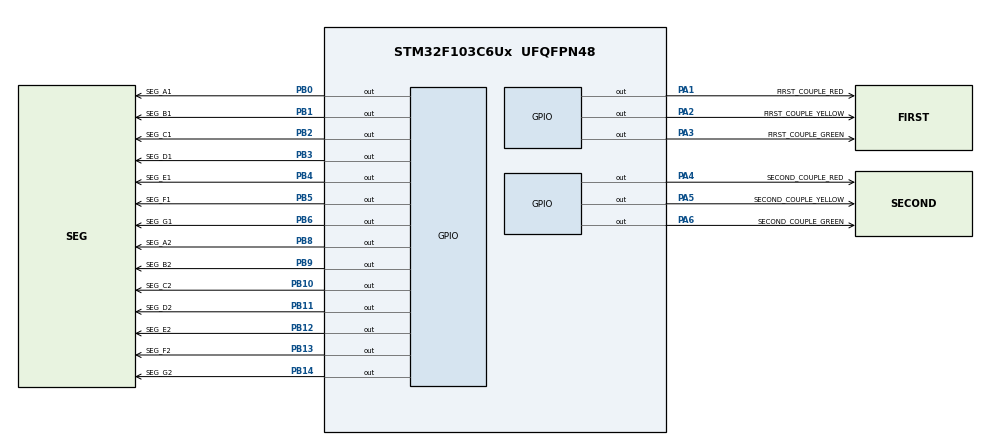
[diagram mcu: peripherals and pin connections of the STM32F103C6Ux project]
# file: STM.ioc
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Mcu.Family=STM32F1
Mcu.Name=STM32F103C6Ux
Mcu.Package=UFQFPN48
NVIC.PriorityGroup=NVIC_PRIORITYGROUP_4
PA1.GPIO_Label=FIRST_COUPLE_RED
PA1.Signal=GPIO_Output
PA2.GPIO_Label=FIRST_COUPLE_YELLOW
PA2.Signal=GPIO_Output
PA3.GPIO_Label=FIRST_COUPLE_GREEN
PA3.Signal=GPIO_Output
PA4.GPIO_Label=SECOND_COUPLE_RED
PA4.Signal=GPIO_Output
PA5.GPIO_Label=SECOND_COUPLE_YELLOW
PA5.Signal=GPIO_Output
PA6.GPIO_Label=SECOND_COUPLE_GREEN
PA6.Signal=GPIO_Output
PB0.GPIO_Label=SEG_A1
PB0.Signal=GPIO_Output
PB1.GPIO_Label=SEG_B1
PB1.Signal=GPIO_Output
PB10.GPIO_Label=SEG_C2
PB10.Signal=GPIO_Output
PB11.GPIO_Label=SEG_D2
PB11.Signal=GPIO_Output
PB12.GPIO_Label=SEG_E2
PB12.Signal=GPIO_Output
PB13.GPIO_Label=SEG_F2
PB13.Signal=GPIO_Output
PB14.GPIO_Label=SEG_G2
PB14.Signal=GPIO_Output
PB2.GPIO_Label=SEG_C1
PB2.Signal=GPIO_Output
PB3.GPIO_Label=SEG_D1
PB3.Signal=GPIO_Output
PB4.GPIO_Label=SEG_E1
PB4.Signal=GPIO_Output
PB5.GPIO_Label=SEG_F1
PB5.Signal=GPIO_Output
PB6.GPIO_Label=SEG_G1
PB6.Signal=GPIO_Output
PB8.GPIO_Label=SEG_A2
PB8.Signal=GPIO_Output
PB9.GPIO_Label=SEG_B2
PB9.Signal=GPIO_Output
ProjectManager.HeapSize=0x200
ProjectManager.StackSize=0x400
ProjectManager.TargetToolchain=STM32CubeIDE
RCC.APB1Freq_Value=8000000
RCC.APB2Freq_Value=8000000
VP_SYS_VS_ND.Mode=No_Debug
board=custom

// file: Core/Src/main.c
/* USER CODE BEGIN Header */
/**
  ******************************************************************************
  * @file           : main.c
  * @brief          : Main program body
  ******************************************************************************
  * @attention
  *
  * <h2><center>&copy; Copyright (c) 2022 STMicroelectronics.
  * All rights reserved.</center></h2>
  *
  * This software component is licensed by ST under BSD 3-Clause license,
  * the "License"; You may not use this file except in compliance with the
  * License. You may obtain a copy of the License at:
  *                        opensource.org/licenses/BSD-3-Clause
  *
  ******************************************************************************
  */
/* USER CODE END Header */
#include "main.h"
#include <stdbool.h>

/* USER CODE BEGIN PTD */
enum LedState { RED_STATE , YELLOW_STATE , GREEN_STATE } ;
/* USER CODE END PTD */

/* USER CODE BEGIN PD */
#define ONE_SECOND_DELAY 1000
#define LED_STATES_NUMBER 3
#define THRESHOLD_COUNTDOWN_VALUE 1
/* USER CODE END PD */

void SystemClock_Config(void);
static void MX_GPIO_Init(void);

void displayFirstLedCouple(enum LedState state_1){
	switch(state_1){
	 case RED_STATE:
			 HAL_GPIO_WritePin( FIRST_COUPLE_GREEN_GPIO_Port , FIRST_COUPLE_GREEN_Pin , 1) ;
			 HAL_GPIO_WritePin( FIRST_COUPLE_YELLOW_GPIO_Port , FIRST_COUPLE_YELLOW_Pin , 1 ) ;
			 HAL_GPIO_WritePin( FIRST_COUPLE_RED_GPIO_Port , FIRST_COUPLE_RED_Pin , 0 ) ;
			 break;
	 case YELLOW_STATE:
			 HAL_GPIO_WritePin( FIRST_COUPLE_GREEN_GPIO_Port , FIRST_COUPLE_GREEN_Pin , 1) ;
			 HAL_GPIO_WritePin( FIRST_COUPLE_YELLOW_GPIO_Port , FIRST_COUPLE_YELLOW_Pin , 0 ) ;
			 HAL_GPIO_WritePin( FIRST_COUPLE_RED_GPIO_Port , FIRST_COUPLE_RED_Pin , 1 ) ;
			 break;
	 case GREEN_STATE:
			 HAL_GPIO_WritePin( FIRST_COUPLE_GREEN_GPIO_Port , FIRST_COUPLE_GREEN_Pin , 0) ;
			 HAL_GPIO_WritePin( FIRST_COUPLE_YELLOW_GPIO_Port , FIRST_COUPLE_YELLOW_Pin , 1 ) ;
			 HAL_GPIO_WritePin( FIRST_COUPLE_RED_GPIO_Port , FIRST_COUPLE_RED_Pin , 1 ) ;
			 break;
	 default:
		 break;
	}
}

void displaySecondLedCouple(enum LedState state_2){
	switch(state_2){
		case RED_STATE:
			HAL_GPIO_WritePin( SECOND_COUPLE_GREEN_GPIO_Port , SECOND_COUPLE_GREEN_Pin , 1) ;
			HAL_GPIO_WritePin( SECOND_COUPLE_YELLOW_GPIO_Port , SECOND_COUPLE_YELLOW_Pin , 1 ) ;
			HAL_GPIO_WritePin( SECOND_COUPLE_RED_GPIO_Port , SECOND_COUPLE_RED_Pin , 0 ) ;
			break;
		case YELLOW_STATE:
			HAL_GPIO_WritePin( SECOND_COUPLE_GREEN_GPIO_Port , SECOND_COUPLE_GREEN_Pin , 1) ;
			HAL_GPIO_WritePin( SECOND_COUPLE_YELLOW_GPIO_Port , SECOND_COUPLE_YELLOW_Pin , 0 ) ;
			HAL_GPIO_WritePin( SECOND_COUPLE_RED_GPIO_Port , SECOND_COUPLE_RED_Pin , 1 ) ;
			break;
		case GREEN_STATE:
			HAL_GPIO_WritePin( SECOND_COUPLE_GREEN_GPIO_Port , SECOND_COUPLE_GREEN_Pin , 0) ;
			HAL_GPIO_WritePin( SECOND_COUPLE_YELLOW_GPIO_Port , SECOND_COUPLE_YELLOW_Pin , 1 ) ;
			HAL_GPIO_WritePin( SECOND_COUPLE_RED_GPIO_Port , SECOND_COUPLE_RED_Pin , 1 ) ;
			break;
		default:
		  break;
   }
}

void display7SEG_1(int num){
  switch(num){
    case 0:
        HAL_GPIO_WritePin ( SEG_A1_GPIO_Port , SEG_A1_Pin , 0 ) ;
        HAL_GPIO_WritePin ( SEG_B1_GPIO_Port , SEG_B1_Pin , 0 ) ;
        HAL_GPIO_WritePin ( SEG_C1_GPIO_Port , SEG_C1_Pin , 0 ) ;
        HAL_GPIO_WritePin ( SEG_D1_GPIO_Port , SEG_D1_Pin , 0 ) ;
        HAL_GPIO_WritePin ( SEG_E1_GPIO_Port , SEG_E1_Pin , 0 ) ;
        HAL_GPIO_WritePin ( SEG_F1_GPIO_Port , SEG_F1_Pin , 0 ) ;
        HAL_GPIO_WritePin ( SEG_G1_GPIO_Port , SEG_G1_Pin , 1 ) ;
        break;

    case 1:
        HAL_GPIO_WritePin ( SEG_A1_GPIO_Port , SEG_A1_Pin , 1 ) ;
        HAL_GPIO_WritePin ( SEG_B1_GPIO_Port , SEG_B1_Pin , 0 ) ;
        HAL_GPIO_WritePin ( SEG_C1_GPIO_Port , SEG_C1_Pin , 0 ) ;
        HAL_GPIO_WritePin ( SEG_D1_GPIO_Port , SEG_D1_Pin , 1 ) ;
        HAL_GPIO_WritePin ( SEG_E1_GPIO_Port , SEG_E1_Pin , 1 ) ;
        HAL_GPIO_WritePin ( SEG_F1_GPIO_Port , SEG_F1_Pin , 1 ) ;
        HAL_GPIO_WritePin ( SEG_G1_GPIO_Port , SEG_G1_Pin , 1 ) ;
        break;

    case 2:
        HAL_GPIO_WritePin ( SEG_A1_GPIO_Port , SEG_A1_Pin , 0 ) ;
        HAL_GPIO_WritePin ( SEG_B1_GPIO_Port , SEG_B1_Pin , 0 ) ;
        HAL_GPIO_WritePin ( SEG_C1_GPIO_Port , SEG_C1_Pin , 1 ) ;
        HAL_GPIO_WritePin ( SEG_D1_GPIO_Port , SEG_D1_Pin , 0 ) ;
        HAL_GPIO_WritePin ( SEG_E1_GPIO_Port , SEG_E1_Pin , 0 ) ;
        HAL_GPIO_WritePin ( SEG_F1_GPIO_Port , SEG_F1_Pin , 1 ) ;
        HAL_GPIO_WritePin ( SEG_G1_GPIO_Port , SEG_G1_Pin , 0 ) ;
        break;

    case 3:
        HAL_GPIO_WritePin ( SEG_A1_GPIO_Port , SEG_A1_Pin , 0 ) ;
        HAL_GPIO_WritePin ( SEG_B1_GPIO_Port , SEG_B1_Pin , 0 ) ;
        HAL_GPIO_WritePin ( SEG_C1_GPIO_Port , SEG_C1_Pin , 0 ) ;
        HAL_GPIO_WritePin ( SEG_D1_GPIO_Port , SEG_D1_Pin , 0 ) ;
        HAL_GPIO_WritePin ( SEG_E1_GPIO_Port , SEG_E1_Pin , 1 ) ;
        HAL_GPIO_WritePin ( SEG_F1_GPIO_Port , SEG_F1_Pin , 1 ) ;
        HAL_GPIO_WritePin ( SEG_G1_GPIO_Port , SEG_G1_Pin , 0 ) ;
        break;

    case 4:
        HAL_GPIO_WritePin ( SEG_A1_GPIO_Port , SEG_A1_Pin , 1 ) ;
        HAL_GPIO_WritePin ( SEG_B1_GPIO_Port , SEG_B1_Pin , 0 ) ;
        HAL_GPIO_WritePin ( SEG_C1_GPIO_Port , SEG_C1_Pin , 0 ) ;
        HAL_GPIO_WritePin ( SEG_D1_GPIO_Port , SEG_D1_Pin , 1 ) ;
        HAL_GPIO_WritePin ( SEG_E1_GPIO_Port , SEG_E1_Pin , 1 ) ;
        HAL_GPIO_WritePin ( SEG_F1_GPIO_Port , SEG_F1_Pin , 0 ) ;
        HAL_GPIO_WritePin ( SEG_G1_GPIO_Port , SEG_G1_Pin , 0 ) ;
        break;
    case 5:
        HAL_GPIO_WritePin ( SEG_A1_GPIO_Port , SEG_A1_Pin , 0 ) ;
        HAL_GPIO_WritePin ( SEG_B1_GPIO_Port , SEG_B1_Pin , 1 ) ;
        HAL_GPIO_WritePin ( SEG_C1_GPIO_Port , SEG_C1_Pin , 0 ) ;
        HAL_GPIO_WritePin ( SEG_D1_GPIO_Port , SEG_D1_Pin , 0 ) ;
        HAL_GPIO_WritePin ( SEG_E1_GPIO_Port , SEG_E1_Pin , 1 ) ;
        HAL_GPIO_WritePin ( SEG_F1_GPIO_Port , SEG_F1_Pin , 0 ) ;
        HAL_GPIO_WritePin ( SEG_G1_GPIO_Port , SEG_G1_Pin , 0 ) ;
        break;

    default:
      break;
  }
}

  void display7SEG_2(int num){
    switch(num){
      case 0:
		  HAL_GPIO_WritePin ( SEG_A2_GPIO_Port , SEG_A2_Pin , 0 ) ;
		  HAL_GPIO_WritePin ( SEG_B2_GPIO_Port , SEG_B2_Pin , 0 ) ;
		  HAL_GPIO_WritePin ( SEG_C2_GPIO_Port , SEG_C2_Pin , 0 ) ;
		  HAL_GPIO_WritePin ( SEG_D2_GPIO_Port , SEG_D2_Pin , 0 ) ;
		  HAL_GPIO_WritePin ( SEG_E2_GPIO_Port , SEG_E2_Pin , 0 ) ;
		  HAL_GPIO_WritePin ( SEG_F2_GPIO_Port , SEG_F2_Pin , 0 ) ;
		  HAL_GPIO_WritePin ( SEG_G2_GPIO_Port , SEG_G2_Pin , 1 ) ;
		  break;

      case 1:
          HAL_GPIO_WritePin ( SEG_A2_GPIO_Port , SEG_A2_Pin , 1 ) ;
          HAL_GPIO_WritePin ( SEG_B2_GPIO_Port , SEG_B2_Pin , 0 ) ;
          HAL_GPIO_WritePin ( SEG_C2_GPIO_Port , SEG_C2_Pin , 0 ) ;
          HAL_GPIO_WritePin ( SEG_D2_GPIO_Port , SEG_D2_Pin , 1 ) ;
          HAL_GPIO_WritePin ( SEG_E2_GPIO_Port , SEG_E2_Pin , 1 ) ;
          HAL_GPIO_WritePin ( SEG_F2_GPIO_Port , SEG_F2_Pin , 1 ) ;
          HAL_GPIO_WritePin ( SEG_G2_GPIO_Port , SEG_G2_Pin , 1 ) ;
          break;

      case 2:
          HAL_GPIO_WritePin ( SEG_A2_GPIO_Port , SEG_A2_Pin , 0 ) ;
          HAL_GPIO_WritePin ( SEG_B2_GPIO_Port , SEG_B2_Pin , 0 ) ;
          HAL_GPIO_WritePin ( SEG_C2_GPIO_Port , SEG_C2_Pin , 1 ) ;
          HAL_GPIO_WritePin ( SEG_D2_GPIO_Port , SEG_D2_Pin , 0 ) ;
          HAL_GPIO_WritePin ( SEG_E2_GPIO_Port , SEG_E2_Pin , 0 ) ;
          HAL_GPIO_WritePin ( SEG_F2_GPIO_Port , SEG_F2_Pin , 1 ) ;
          HAL_GPIO_WritePin ( SEG_G2_GPIO_Port , SEG_G2_Pin , 0 ) ;
          break;

      case 3:
          HAL_GPIO_WritePin ( SEG_A2_GPIO_Port , SEG_A2_Pin , 0 ) ;
          HAL_GPIO_WritePin ( SEG_B2_GPIO_Port , SEG_B2_Pin , 0 ) ;
          HAL_GPIO_WritePin ( SEG_C2_GPIO_Port , SEG_C2_Pin , 0 ) ;
          HAL_GPIO_WritePin ( SEG_D2_GPIO_Port , SEG_D2_Pin , 0 ) ;
          HAL_GPIO_WritePin ( SEG_E2_GPIO_Port , SEG_E2_Pin , 1 ) ;
          HAL_GPIO_WritePin ( SEG_F2_GPIO_Port , SEG_F2_Pin , 1 ) ;
          HAL_GPIO_WritePin ( SEG_G2_GPIO_Port , SEG_G2_Pin , 0 ) ;
          break;

      case 4:
          HAL_GPIO_WritePin ( SEG_A2_GPIO_Port , SEG_A2_Pin , 1 ) ;
          HAL_GPIO_WritePin ( SEG_B2_GPIO_Port , SEG_B2_Pin , 0 ) ;
          HAL_GPIO_WritePin ( SEG_C2_GPIO_Port , SEG_C2_Pin , 0 ) ;
          HAL_GPIO_WritePin ( SEG_D2_GPIO_Port , SEG_D2_Pin , 1 ) ;
          HAL_GPIO_WritePin ( SEG_E2_GPIO_Port , SEG_E2_Pin , 1 ) ;
          HAL_GPIO_WritePin ( SEG_F2_GPIO_Port , SEG_F2_Pin , 0 ) ;
          HAL_GPIO_WritePin ( SEG_G2_GPIO_Port , SEG_G2_Pin , 0 ) ;
          break;
      case 5:
		  HAL_GPIO_WritePin ( SEG_A2_GPIO_Port , SEG_A2_Pin , 0 ) ;
		  HAL_GPIO_WritePin ( SEG_B2_GPIO_Port , SEG_B2_Pin , 1 ) ;
		  HAL_GPIO_WritePin ( SEG_C2_GPIO_Port , SEG_C2_Pin , 0 ) ;
		  HAL_GPIO_WritePin ( SEG_D2_GPIO_Port , SEG_D2_Pin , 0 ) ;
		  HAL_GPIO_WritePin ( SEG_E2_GPIO_Port , SEG_E2_Pin , 1 ) ;
		  HAL_GPIO_WritePin ( SEG_F2_GPIO_Port , SEG_F2_Pin , 0 ) ;
		  HAL_GPIO_WritePin ( SEG_G2_GPIO_Port , SEG_G2_Pin , 0 ) ;
		  break;
      default:
        break;

    }
  }

int countdown_of_leds[LED_STATES_NUMBER] = {5,2,3}; //countdown time of RED_STATE, YELLOW_STATE, GREEN_STATE respectively

void changeLedState(int *countdown, int *countdown_state){
	 if(*countdown == THRESHOLD_COUNTDOWN_VALUE){
			  if(*countdown_state != RED_STATE) *countdown_state = LED_STATES_NUMBER % *countdown_state;
			  else *countdown_state = GREEN_STATE;

			  *countdown = countdown_of_leds[*countdown_state];
	 }
	 else (*countdown)--;
}

int main(void)
{

  /* MCU Configuration--------------------------------------------------------*/

  /* Reset of all peripherals, Initializes the Flash interface and the Systick. */
  HAL_Init();

  /* Configure the system clock */
  SystemClock_Config();

  /* Initialize all configured peripherals */
  MX_GPIO_Init();

  /* Infinite loop */
  /* USER CODE BEGIN WHILE */

  int countdown_1_state = GREEN_STATE; //countdown state for first couple of traffic lights
  int countdown_2_state = RED_STATE; //countdown state for second couple of traffic lights
  int countdown_1 = countdown_of_leds[countdown_1_state]; //countdown time for first couple of traffic lights
  int countdown_2 = countdown_of_leds[countdown_2_state]; //countdown time for second couple of traffic lights

  while (1)
  {
	  displayFirstLedCouple(countdown_1_state);
	  displaySecondLedCouple(countdown_2_state);

	  display7SEG_1(countdown_1);
	  display7SEG_2(countdown_2);

	  changeLedState(&countdown_1, &countdown_1_state);
	  changeLedState(&countdown_2, &countdown_2_state);

	  HAL_Delay(ONE_SECOND_DELAY);
    /* USER CODE END WHILE */

  }
}

void SystemClock_Config(void)
{
  RCC_OscInitTypeDef RCC_OscInitStruct = {0};
  RCC_ClkInitTypeDef RCC_ClkInitStruct = {0};

  /** Initializes the RCC Oscillators according to the specified parameters
  * in the RCC_OscInitTypeDef structure.
  */
  RCC_OscInitStruct.OscillatorType = RCC_OSCILLATORTYPE_HSI;
  RCC_OscInitStruct.HSIState = RCC_HSI_ON;
  RCC_OscInitStruct.HSICalibrationValue = RCC_HSICALIBRATION_DEFAULT;
  RCC_OscInitStruct.PLL.PLLState = RCC_PLL_NONE;
  if (HAL_RCC_OscConfig(&RCC_OscInitStruct) != HAL_OK)
  {
    Error_Handler();
  }
  /** Initializes the CPU, AHB and APB buses clocks
  */
  RCC_ClkInitStruct.ClockType = RCC_CLOCKTYPE_HCLK|RCC_CLOCKTYPE_SYSCLK
                              |RCC_CLOCKTYPE_PCLK1|RCC_CLOCKTYPE_PCLK2;
  RCC_ClkInitStruct.SYSCLKSource = RCC_SYSCLKSOURCE_HSI;
  RCC_ClkInitStruct.AHBCLKDivider = RCC_SYSCLK_DIV1;
  RCC_ClkInitStruct.APB1CLKDivider = RCC_HCLK_DIV1;
  RCC_ClkInitStruct.APB2CLKDivider = RCC_HCLK_DIV1;

  if (HAL_RCC_ClockConfig(&RCC_ClkInitStruct, FLASH_LATENCY_0) != HAL_OK)
  {
    Error_Handler();
  }
}

static void MX_GPIO_Init(void)
{
  GPIO_InitTypeDef GPIO_InitStruct = {0};

  /* GPIO Ports Clock Enable */
  __HAL_RCC_GPIOA_CLK_ENABLE();
  __HAL_RCC_GPIOB_CLK_ENABLE();

  /*Configure GPIO pin Output Level */
  HAL_GPIO_WritePin(GPIOA, FIRST_COUPLE_RED_Pin|FIRST_COUPLE_YELLOW_Pin|FIRST_COUPLE_GREEN_Pin|SECOND_COUPLE_RED_Pin
                          |SECOND_COUPLE_YELLOW_Pin|SECOND_COUPLE_GREEN_Pin, GPIO_PIN_RESET);

  /*Configure GPIO pin Output Level */
  HAL_GPIO_WritePin(GPIOB, SEG_A1_Pin|SEG_B1_Pin|SEG_C1_Pin|SEG_C2_Pin
                          |SEG_D2_Pin|SEG_E2_Pin|SEG_F2_Pin|SEG_G2_Pin
                          |SEG_D1_Pin|SEG_E1_Pin|SEG_F1_Pin|SEG_G1_Pin
                          |SEG_A2_Pin|SEG_B2_Pin, GPIO_PIN_RESET);

  /*Configure GPIO pins : FIRST_COUPLE_RED_Pin FIRST_COUPLE_YELLOW_Pin FIRST_COUPLE_GREEN_Pin SECOND_COUPLE_RED_Pin
                           SECOND_COUPLE_YELLOW_Pin SECOND_COUPLE_GREEN_Pin */
  GPIO_InitStruct.Pin = FIRST_COUPLE_RED_Pin|FIRST_COUPLE_YELLOW_Pin|FIRST_COUPLE_GREEN_Pin|SECOND_COUPLE_RED_Pin
                          |SECOND_COUPLE_YELLOW_Pin|SECOND_COUPLE_GREEN_Pin;
  GPIO_InitStruct.Mode = GPIO_MODE_OUTPUT_PP;
  GPIO_InitStruct.Pull = GPIO_NOPULL;
  GPIO_InitStruct.Speed = GPIO_SPEED_FREQ_LOW;
  HAL_GPIO_Init(GPIOA, &GPIO_InitStruct);

  /*Configure GPIO pins : SEG_A1_Pin SEG_B1_Pin SEG_C1_Pin SEG_C2_Pin
                           SEG_D2_Pin SEG_E2_Pin SEG_F2_Pin SEG_G2_Pin
                           SEG_D1_Pin SEG_E1_Pin SEG_F1_Pin SEG_G1_Pin
                           SEG_A2_Pin SEG_B2_Pin */
  GPIO_InitStruct.Pin = SEG_A1_Pin|SEG_B1_Pin|SEG_C1_Pin|SEG_C2_Pin
                          |SEG_D2_Pin|SEG_E2_Pin|SEG_F2_Pin|SEG_G2_Pin
                          |SEG_D1_Pin|SEG_E1_Pin|SEG_F1_Pin|SEG_G1_Pin
                          |SEG_A2_Pin|SEG_B2_Pin;
  GPIO_InitStruct.Mode = GPIO_MODE_OUTPUT_PP;
  GPIO_InitStruct.Pull = GPIO_NOPULL;
  GPIO_InitStruct.Speed = GPIO_SPEED_FREQ_LOW;
  HAL_GPIO_Init(GPIOB, &GPIO_InitStruct);

}

void Error_Handler(void)
{
  __disable_irq();
  while (1)
  {
  }
}

/************************ (C) COPYRIGHT STMicroelectronics *****END OF FILE****/
